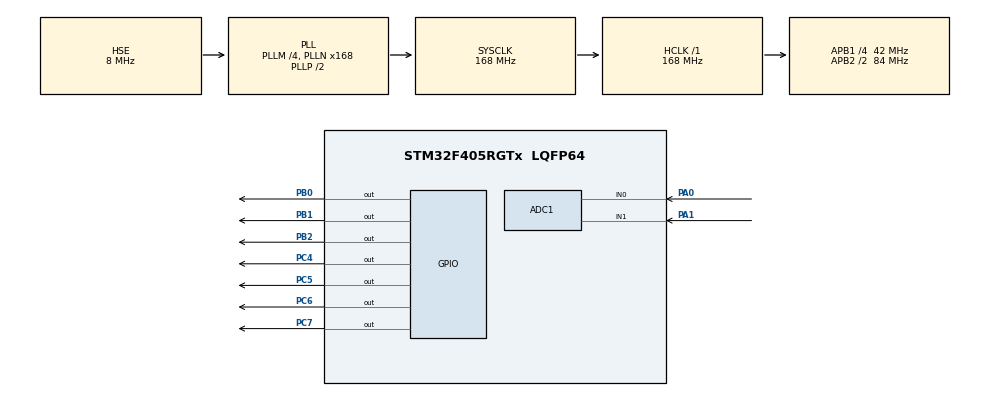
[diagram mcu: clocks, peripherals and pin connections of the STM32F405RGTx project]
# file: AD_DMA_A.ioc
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ADC1.Channel-0\#ChannelRegularConversion=ADC_CHANNEL_0
ADC1.Channel-1\#ChannelRegularConversion=ADC_CHANNEL_1
ADC1.ContinuousConvMode=ENABLE
ADC1.DMAContinuousRequests=ENABLE
ADC1.NbrOfConversion=2
ADC1.NbrOfConversionFlag=1
ADC1.Rank-0\#ChannelRegularConversion=1
ADC1.Rank-1\#ChannelRegularConversion=2
ADC1.SamplingTime-0\#ChannelRegularConversion=ADC_SAMPLETIME_56CYCLES
ADC1.SamplingTime-1\#ChannelRegularConversion=ADC_SAMPLETIME_56CYCLES
ADC1.ScanConvMode=ENABLE
ADC1.master=1
Dma.ADC1.0.Direction=DMA_PERIPH_TO_MEMORY
Dma.ADC1.0.FIFOMode=DMA_FIFOMODE_DISABLE
Dma.ADC1.0.Instance=DMA2_Stream0
Dma.ADC1.0.MemDataAlignment=DMA_MDATAALIGN_HALFWORD
Dma.ADC1.0.MemInc=DMA_MINC_ENABLE
Dma.ADC1.0.Mode=DMA_CIRCULAR
Dma.ADC1.0.PeriphDataAlignment=DMA_PDATAALIGN_HALFWORD
Dma.ADC1.0.PeriphInc=DMA_PINC_DISABLE
Dma.ADC1.0.Priority=DMA_PRIORITY_LOW
Dma.Request0=ADC1
Mcu.Family=STM32F4
Mcu.Name=STM32F405RGTx
Mcu.Package=LQFP64
NVIC.DMA2_Stream0_IRQn=true\:0\:0\:false\:false\:true\:false\:true
NVIC.PriorityGroup=NVIC_PRIORITYGROUP_4
PA0-WKUP.Signal=ADCx_IN0
PA1.Signal=ADCx_IN1
PA13.Mode=Serial_Wire
PA13.Signal=SYS_JTMS-SWDIO
PA14.Mode=Serial_Wire
PA14.Signal=SYS_JTCK-SWCLK
PB0.Signal=GPIO_Output
PB1.Signal=GPIO_Output
PB2.Signal=GPIO_Output
PC4.Signal=GPIO_Output
PC5.Signal=GPIO_Output
PC6.Signal=GPIO_Output
PC7.Signal=GPIO_Output
PH0-OSC_IN.Mode=HSE-External-Oscillator
PH0-OSC_IN.Signal=RCC_OSC_IN
PH1-OSC_OUT.Mode=HSE-External-Oscillator
PH1-OSC_OUT.Signal=RCC_OSC_OUT
ProjectManager.HeapSize=0x200
ProjectManager.StackSize=0x400
ProjectManager.TargetToolchain=EWARM V8.32
RCC.48MHZClocksFreq_Value=84000000
RCC.AHBFreq_Value=168000000
RCC.APB1CLKDivider=RCC_HCLK_DIV4
RCC.APB1Freq_Value=42000000
RCC.APB1TimFreq_Value=84000000
RCC.APB2CLKDivider=RCC_HCLK_DIV2
RCC.APB2Freq_Value=84000000
RCC.APB2TimFreq_Value=168000000
RCC.CortexFreq_Value=168000000
RCC.HCLKFreq_Value=168000000
RCC.HSE_VALUE=8000000
RCC.HSI_VALUE=16000000
RCC.LSE_VALUE=32768
RCC.PLLM=4
RCC.PLLN=168
RCC.PLLSourceVirtual=RCC_PLLSOURCE_HSE
RCC.SYSCLKFreq_VALUE=168000000
RCC.SYSCLKSource=RCC_SYSCLKSOURCE_PLLCLK
RCC.VCOOutputFreq_Value=336000000
SH.ADCx_IN0.0=ADC1_IN0,IN0
SH.ADCx_IN1.0=ADC1_IN1,IN1
board=custom

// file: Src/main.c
/* USER CODE BEGIN Header */
/**
  ******************************************************************************
  * @file           : main.c
  * @brief          : Main program body
  ******************************************************************************
  * @attention
  *
  * <h2><center>&copy; Copyright (c) 2020 STMicroelectronics.
  * All rights reserved.</center></h2>
  *
  * This software component is licensed by ST under BSD 3-Clause license,
  * the "License"; You may not use this file except in compliance with the
  * License. You may obtain a copy of the License at:
  *                        opensource.org/licenses/BSD-3-Clause
  *
  ******************************************************************************
  */
/* USER CODE END Header */

#include "main.h"
#include "adc.h"
#include "dma.h"
#include "gpio.h"

/* USER CODE BEGIN Includes */
#include "lcd.h"
#include "stdio.h"
/* USER CODE END Includes */

/* USER CODE BEGIN PV */
uint16_t adcData[2];
float v_temp;
char str[10];
/* USER CODE END PV */

void SystemClock_Config(void);

int main(void)
{

  /* MCU Configuration--------------------------------------------------------*/

  /* Reset of all peripherals, Initializes the Flash interface and the Systick. */
  HAL_Init();

  /* Configure the system clock */
  SystemClock_Config();

  /* Initialize all configured peripherals */
  MX_GPIO_Init();
  MX_DMA_Init();
  MX_ADC1_Init();
  /* USER CODE BEGIN 2 */
  lcdInit();
  /* USER CODE END 2 */

  /* Infinite loop */
  /* USER CODE BEGIN WHILE */
  HAL_ADC_Start_DMA(&hadc1, (uint32_t *)adcData, 2);
  while (1)
  {
    lcdGotoXY(0,0);
    sprintf(str, "CDS : %4d", adcData[0]);
    lcdPrint(str);
    v_temp = (float) adcData[1] * 33 / 4095;
    sprintf(str, "Vol : %4.1fV", v_temp);
    lcdGotoXY(0,1);
    lcdPrint(str);
    HAL_Delay(500);
    /* USER CODE END WHILE */

  }
}

void SystemClock_Config(void)
{
  RCC_OscInitTypeDef RCC_OscInitStruct = {0};
  RCC_ClkInitTypeDef RCC_ClkInitStruct = {0};

  /** Configure the main internal regulator output voltage
  */
  __HAL_RCC_PWR_CLK_ENABLE();
  __HAL_PWR_VOLTAGESCALING_CONFIG(PWR_REGULATOR_VOLTAGE_SCALE1);
  /** Initializes the CPU, AHB and APB busses clocks
  */
  RCC_OscInitStruct.OscillatorType = RCC_OSCILLATORTYPE_HSE;
  RCC_OscInitStruct.HSEState = RCC_HSE_ON;
  RCC_OscInitStruct.PLL.PLLState = RCC_PLL_ON;
  RCC_OscInitStruct.PLL.PLLSource = RCC_PLLSOURCE_HSE;
  RCC_OscInitStruct.PLL.PLLM = 4;
  RCC_OscInitStruct.PLL.PLLN = 168;
  RCC_OscInitStruct.PLL.PLLP = RCC_PLLP_DIV2;
  RCC_OscInitStruct.PLL.PLLQ = 4;
  if (HAL_RCC_OscConfig(&RCC_OscInitStruct) != HAL_OK)
  {
    Error_Handler();
  }
  /** Initializes the CPU, AHB and APB busses clocks
  */
  RCC_ClkInitStruct.ClockType = RCC_CLOCKTYPE_HCLK|RCC_CLOCKTYPE_SYSCLK
                              |RCC_CLOCKTYPE_PCLK1|RCC_CLOCKTYPE_PCLK2;
  RCC_ClkInitStruct.SYSCLKSource = RCC_SYSCLKSOURCE_PLLCLK;
  RCC_ClkInitStruct.AHBCLKDivider = RCC_SYSCLK_DIV1;
  RCC_ClkInitStruct.APB1CLKDivider = RCC_HCLK_DIV4;
  RCC_ClkInitStruct.APB2CLKDivider = RCC_HCLK_DIV2;

  if (HAL_RCC_ClockConfig(&RCC_ClkInitStruct, FLASH_LATENCY_5) != HAL_OK)
  {
    Error_Handler();
  }
}

void Error_Handler(void)
{
}

/************************ (C) COPYRIGHT STMicroelectronics *****END OF FILE****/
